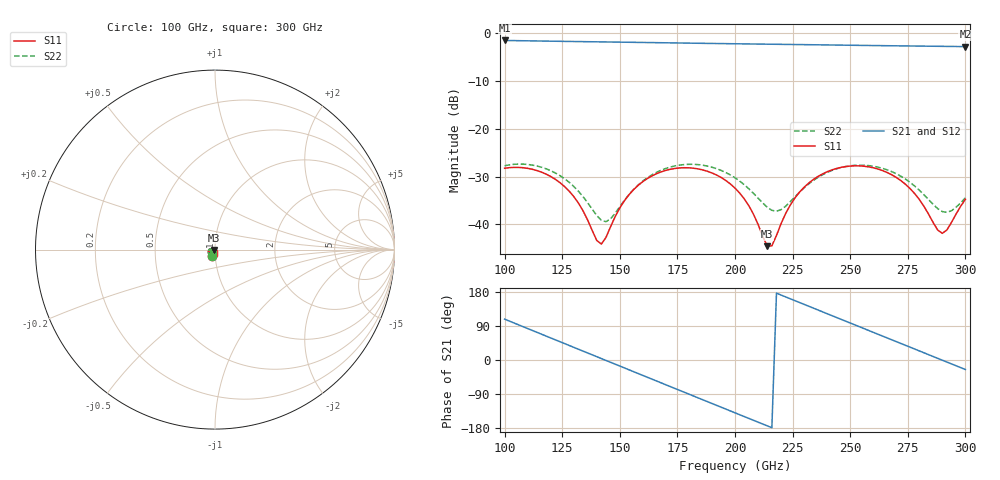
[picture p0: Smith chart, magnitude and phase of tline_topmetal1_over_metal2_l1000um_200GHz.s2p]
#  GHZ S DB R 50
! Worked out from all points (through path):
!   101 points, 100 GHz to 300 GHz, reference 50 ohm
!   highest |S21| = -1.49 dB at 100 GHz (marker M1); lowest = -2.8 dB at 300 GHz (marker M2)
!   group delay of S21, straight-line fit = 6.84 ps
!   lowest |S11| = -44.6 dB at 214 GHz (marker M3), VSWR 1.01, Z = 49.5 - j0.216 ohm
!   |S11| at or under -10 dB: start of sweep to end of sweep
!   |S22| runs from -39.4 to -27.4 dB; largest |S21 - S12| = 9.6e-14
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100  -28.25 -112.8  -1.49 107.8  -1.49 107.8  -27.71 -111.2
116  -29.05 -150.9  -1.61 68.1  -1.61 68.1  -28.03 -146.5
126  -32.06 -171.6  -1.69 43.4  -1.69 43.4  -30.43 -165.0
134  -37.10 -179.5  -1.74 23.6  -1.74 23.6  -34.16 -171.7
142  -44.11 -130.7  -1.79 3.8  -1.79 3.8  -39.14 -148.6
146  -40.47 -96.6  -1.82 -6.1  -1.82 -6.1  -38.83 -121.8
154  -33.77 -93.0  -1.87 -25.9  -1.87 -25.9  -33.74 -102.9
168  -28.99 -118.9  -1.97 -60.5  -1.97 -60.5  -28.64 -119.8
184  -28.38 -154.1  -2.08 -100.0  -2.08 -100.0  -27.48 -150.0
200  -32.40 173.9  -2.19 -139.4  -2.19 -139.4  -30.24 -175.9
206  -36.08 167.3  -2.22 -154.1  -2.22 -154.1  -32.54 -179.9
214  -44.55 -158.4  -2.27 -173.8  -2.27 -173.8  -36.41 -167.7
216  -44.48 -130.3  -2.28 -178.7  -2.28 -178.7  -37.05 -159.4
220  -39.83 -100.8  -2.31 171.4  -2.31 171.4  -36.91 -140.4
226  -34.47 -98.4  -2.34 156.6  -2.34 156.6  -34.23 -124.1
234  -30.60 -110.4  -2.39 136.9  -2.39 136.9  -30.80 -124.7
244  -28.30 -130.2  -2.46 112.4  -2.46 112.4  -28.37 -137.9
252  -27.74 -147.0  -2.51 92.7  -2.51 92.7  -27.63 -151.4
268  -29.60 -178.9  -2.60 53.4  -2.60 53.4  -28.94 -178.2
278  -33.55 167.3  -2.66 28.9  -2.66 28.9  -31.97 171.4
290  -41.86 -151.8  -2.73 -0.6  -2.73 -0.6  -37.31 -167.1
300  -34.75 -110.6  -2.78 -25.1  -2.78 -25.1  -34.45 -131.7
